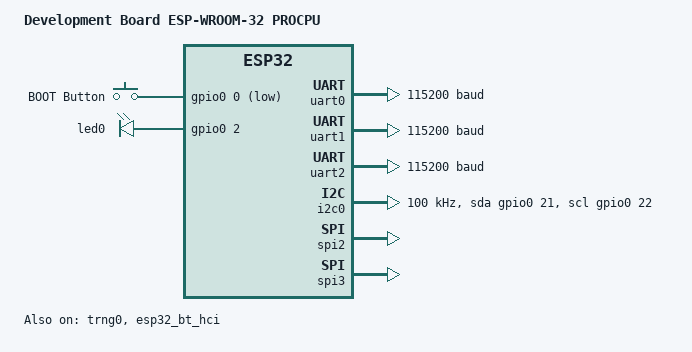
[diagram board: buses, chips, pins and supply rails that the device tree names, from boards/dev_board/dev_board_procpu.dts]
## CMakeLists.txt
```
# SPDX-License-Identifier: Apache-2.0

cmake_minimum_required(VERSION 3.20.0)

# set board
set(BOARD dev_board/esp32/procpu)
# set custom board path
list(APPEND BOARD_ROOT ${CMAKE_CURRENT_SOURCE_DIR})

find_package(Zephyr REQUIRED HINTS $ENV{ZEPHYR_BASE})
project(hello_world)

target_sources(app PRIVATE src/main.cpp)
```

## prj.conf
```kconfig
CONFIG_ESP32_USE_UNSUPPORTED_REVISION=y
CONFIG_CPP=y
CONFIG_GLIBCXX_LIBCPP=y
CONFIG_GPIO=y
# CONFIG_REQUIRES_FULL_LIBCPP=y
```

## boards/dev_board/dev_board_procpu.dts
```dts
/*
 * Copyright (c) 2023 Espressif Systems (Shanghai) Co., Ltd.
 *
 * SPDX-License-Identifier: Apache-2.0
 */
/dts-v1/;

#include <espressif/esp32/esp32_wroom_32ue_n4.dtsi>
#include "dev_board-pinctrl.dtsi"
#include <zephyr/dt-bindings/input/input-event-codes.h>
#include <zephyr/dt-bindings/input/esp32-touch-sensor-input.h>
#include <espressif/partitions_0x1000_amp.dtsi>

/ {
	model = "Development Board ESP-WROOM-32 PROCPU";
	compatible = "espressif,esp32";

	aliases {
		uart-0 = &uart0;
		i2c-0 = &i2c0;
		sw0 = &button0;
		watchdog0 = &wdt0;
        led-0 = &led0;
	};

	buttons {
		compatible = "gpio-keys";
		button0: button_0 {
			gpios = <&gpio0 0 (GPIO_PULL_UP | GPIO_ACTIVE_LOW)>;
			label = "BOOT Button";
			zephyr,code = <INPUT_KEY_0>;
		};
	};

    leds {
        compatible = "gpio-leds";
        led0: d02 {
            gpios = <&gpio0 2 GPIO_ACTIVE_HIGH>;
        };
    };

	chosen {
		zephyr,sram = &sram1;
		zephyr,console = &uart0;
		zephyr,shell-uart = &uart0;
		zephyr,flash = &flash0;
		zephyr,code-partition = &slot0_partition;
		zephyr,bt-hci = &esp32_bt_hci;
	};
};

&uart0 {
	status = "okay";
	current-speed = <115200>;
	pinctrl-0 = <&uart0_default>;
	pinctrl-names = "default";
};

&uart1 {
	current-speed = <115200>;
	pinctrl-0 = <&uart1_default>;
	pinctrl-names = "default";
};

&uart2 {
	current-speed = <115200>;
	pinctrl-0 = <&uart2_default>;
	pinctrl-names = "default";
};

&gpio0 {
	status = "okay";
};

&gpio1 {
	status = "okay";
};

&touch {
	debounce-interval-ms = <30>;
	href-microvolt = <2700000>;
	lref-microvolt = <500000>;
	href-atten-microvolt = <1000000>;
	filter-mode = <ESP32_TOUCH_FILTER_MODE_IIR_16>;
	filter-debounce-cnt = <1>;
	filter-noise-thr = <ESP32_TOUCH_FILTER_NOISE_THR_4_8TH>;
	filter-jitter-step = <4>;
	filter-smooth-level = <ESP32_TOUCH_FILTER_SMOOTH_MODE_IIR_2>;
};

&i2c0 {
	status = "okay";
	clock-frequency = <I2C_BITRATE_STANDARD>;
	sda-gpios = <&gpio0 21 GPIO_OPEN_DRAIN>;
	scl-gpios = <&gpio0 22 GPIO_OPEN_DRAIN>;
	pinctrl-0 = <&i2c0_default>;
	pinctrl-names = "default";
};

&spi2 {
	#address-cells = <1>;
	#size-cells = <0>;
	status = "okay";
	pinctrl-0 = <&spim2_default>;
	pinctrl-names = "default";
};

&spi3 {
	#address-cells = <1>;
	#size-cells = <0>;
	status = "okay";
	pinctrl-0 = <&spim3_default>;
	pinctrl-names = "default";
};

&timer0 {
	status = "disabled";
};

&timer1 {
	status = "disabled";
};

&timer2 {
	status = "disabled";
};

&timer3 {
	status = "disabled";
};

&trng0 {
	status = "okay";
};

&psram0 {
	status = "disabled";
};

&esp32_bt_hci {
	status = "okay";
};
```

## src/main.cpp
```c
/*
 * Copyright (c) 2023, Meta
 *
 * SPDX-License-Identifier: Apache-2.0
 */

extern "C" {
#include <zephyr/kernel.h>
#include <zephyr/device.h>
#include <zephyr/drivers/uart.h>
#include <zephyr/sys/printk.h>
}


int main(void)
{
    while (true) {
        printk("Hello, C++ world!\n");
        k_msleep(10000);
    }
    
    return 0;
}
```
